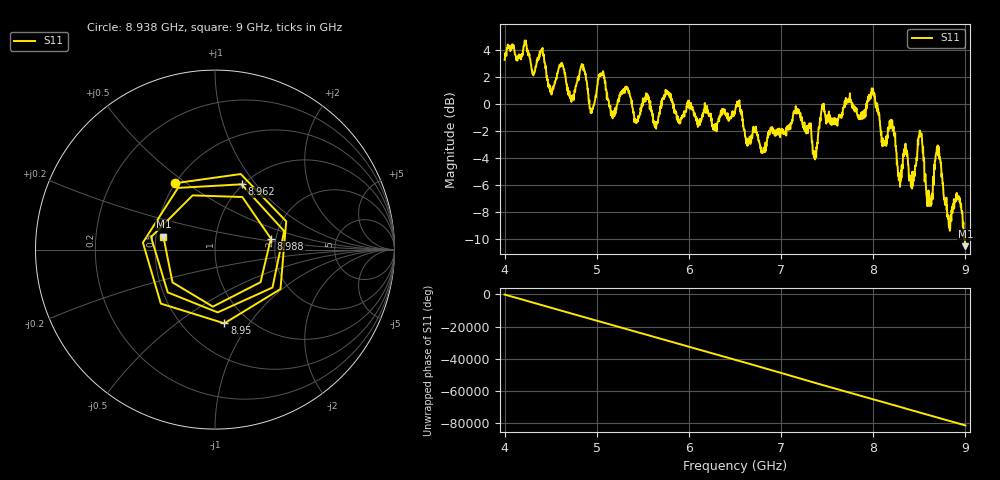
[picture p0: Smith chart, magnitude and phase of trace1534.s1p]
! Created with skrf 1.8.0 (http://scikit-rf.org).
# Hz S RI R 50.0
!freq ReS11 ImS11
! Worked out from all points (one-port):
!   1601 points, 4 GHz to 9 GHz, reference 50 ohm
!   lowest |S11| = -10.6 dB at 9 GHz (marker M1), VSWR 1.84, Z = 27.4 + j4.3 ohm
!   |S11| at or under -10 dB: 8.988595 GHz to 8.993109 GHz (4.514 MHz wide, 0.0502 % of centre); 8.994276 GHz to end of sweep
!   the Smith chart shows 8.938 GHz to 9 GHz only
!   S11 on the Smith chart (normalised r, x): 8.938 GHz: 0.50, +0.45; 8.95 GHz: 0.78, -0.77; 8.962 GHz: 0.99, +0.85; 8.988 GHz: 1.88, +0.26; 9 GHz: 0.55, +0.09
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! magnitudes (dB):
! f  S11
! 4 GHz  3.3
! 4.625 GHz  3.0
! 4.731 GHz  0.4
! 4.853 GHz  2.9
! 4.947 GHz  -0.5
! 5.047 GHz  2.2
! 5.25 GHz  0.6
! 5.875 GHz  -1.1
! 6.5 GHz  -0.5
! 6.803 GHz  -3.5
! 7.125 GHz  -1.3
! 7.366 GHz  -4.0
! 7.45 GHz  -0.1
! 7.75 GHz  0.4
! 7.994 GHz  0.9
! 8.109 GHz  -2.7
! 8.216 GHz  -1.7
! 8.281 GHz  -5.1
! 8.375 GHz  -4.0
! 8.509 GHz  -2.3
! 8.606 GHz  -7.6
! 8.7 GHz  -3.1
! 8.822 GHz  -9.2
! 8.938 GHz  -7.3
! 8.95 GHz  -7.7
! 8.962 GHz  -8.1
! 8.988 GHz  -10.0
! 9 GHz  -10.6
